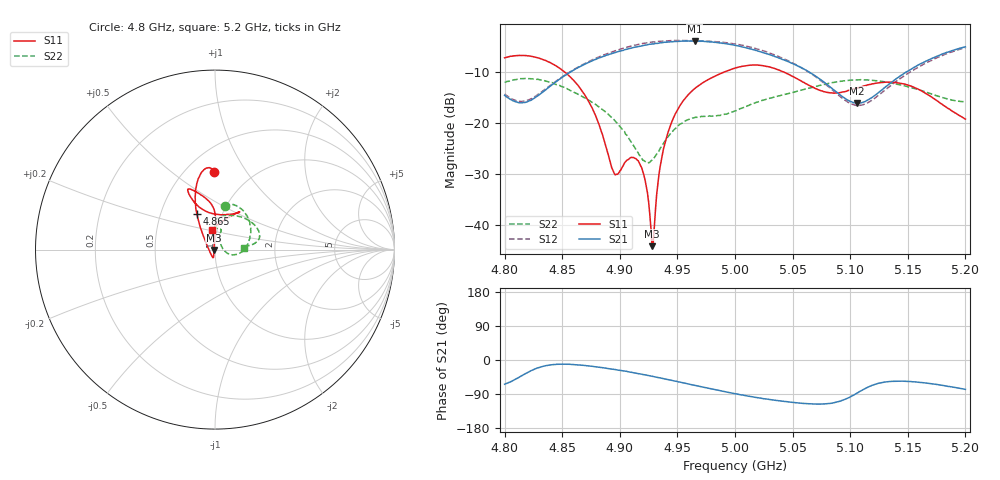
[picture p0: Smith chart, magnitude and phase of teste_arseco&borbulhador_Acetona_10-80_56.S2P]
! Network Analyzer HP8722D
! Hewlett-Packard
! Data name: Linha & Wilkinson
! Saver's name: Rodrigo Anjos
! Comments: Teste da utilização de aquisição
! continua pelo VNA HP8722D
! Time and date: 25/4/2025 15:44
!  Frequency  S11  S21  S12  S22
# HZ  S  MA R 50
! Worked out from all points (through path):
!   401 points, 4.8 GHz to 5.2 GHz, reference 50 ohm
!   highest |S21| = -3.96 dB at 4.965 GHz (marker M1); lowest = -16.1 dB at 5.106 GHz (marker M2)
!   lowest |S11| = -44.1 dB at 4.928 GHz (marker M3), VSWR 1.01, Z = 49.4 - j0.231 ohm
!   |S11| at or under -10 dB: 4.852 GHz to 4.991 GHz (139 MHz wide, 2.82 % of centre); 5.042 GHz to end of sweep
!   |S22| runs from -27.8 to -11.3 dB; largest |S21 - S12| = 1.2
!   S11 on the Smith chart (normalised r, x): 4.8 GHz: 0.68, +0.72; 4.865 GHz: 0.76, +0.32; 5.2 GHz: 0.94, +0.20
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4.8e9  0.434 90.6  0.1863 -64.0  0.1917 69.5  0.2507 77.1
4.821e9  0.453 97.2  0.1639 -31.2  0.1685 99.6  0.2711 60.7
4.865e9  0.2229 116.9  0.3538 -13.1  0.3586 120.8  0.1882 11.1
4.867e9  0.2073 118.1  0.3636 -13.9  0.3676 120.7  0.1825 8.6
4.88e9  0.1103 128.3  0.4232 -18.5  0.4334 118.4  0.1488 -5.4
4.895e9  0.03243 -171.7  0.4853 -24.8  0.5024 113.7  0.1077 -16.0
4.91e9  0.04613 -104.5  0.5392 -32.5  0.5646 107.3  0.06481 -14.4
4.917e9  0.04051 -100.9  0.5622 -36.5  0.5898 103.5  0.04841 -1.7
4.923e9  0.02385 -106.6  0.5786 -39.7  0.6072 100.0  0.0414 19.3
4.928e9  0.006239 -158.0  0.5934 -42.9  0.6183 97.1  0.04338 40.7
4.93e9  0.00989 124.8  0.5962 -44.3  0.6201 95.8  0.04585 48.3
4.934e9  0.03145 98.2  0.6046 -46.8  0.6297 93.3  0.05327 58.6
4.939e9  0.06212 92.2  0.6167 -49.9  0.6356 89.9  0.06598 66.1
4.946e9  0.1084 89.4  0.6252 -54.5  0.6407 85.6  0.08325 70.4
4.965e9  0.2167 90.9  0.634 -67.0  0.6391 73.5  0.1131 72.0
5e9  0.3442 109.0  0.5746 -89.1  0.5941 50.8  0.1312 88.6
5.03e9  0.3533 115.0  0.4665 -104.1  0.4824 33.8  0.1743 85.6
5.067e9  0.2251 104.9  0.3021 -116.0  0.2994 23.5  0.2222 57.3
5.106e9  0.2195 64.2  0.1565 -87.3  0.1485 55.7  0.2635 25.0
5.134e9  0.2507 56.9  0.2409 -56.9  0.2266 88.6  0.2481 12.4
5.168e9  0.1875 68.8  0.4141 -61.8  0.3978 85.3  0.196 7.0
5.2e9  0.1091 100.0  0.5557 -77.6  0.5453 70.3  0.1608 3.9
